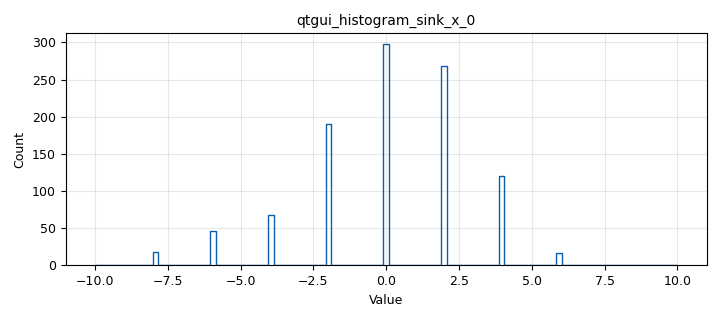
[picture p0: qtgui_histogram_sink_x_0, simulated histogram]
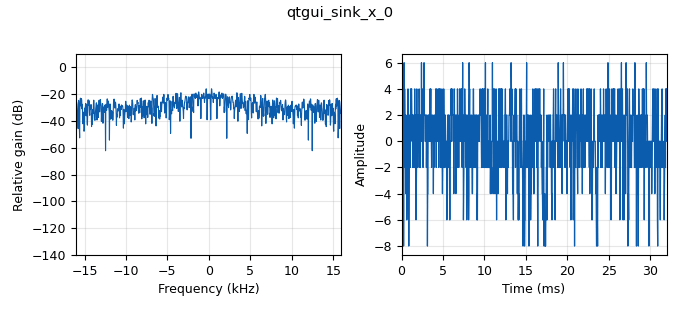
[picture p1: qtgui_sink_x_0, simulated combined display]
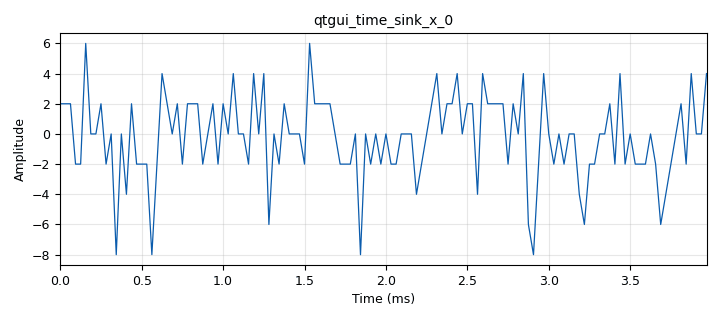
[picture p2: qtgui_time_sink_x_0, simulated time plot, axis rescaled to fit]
options:
  parameters:
    author: vivelpanel
    generate_options: qt_gui
    id: top_block
    output_language: python
    title: Not titled yet
  states: {}

blocks:
- name: samp_rate
  id: variable
  parameters:
    value: '32000'
  states: {}
- name: blocks_add_xx_0
  id: blocks_add_xx
  parameters:
    num_inputs: '8'
    type: float
  states: {}
- name: blocks_throttle_0
  id: blocks_throttle
  parameters:
    samples_per_second: samp_rate
    type: float
  states: {}
- name: digital_glfsr_source_x_0
  id: digital_glfsr_source_x
  parameters:
    degree: '32'
    mask: '0'
    repeat: 'True'
    seed: '1'
    type: float
  states: {}
- name: digital_glfsr_source_x_0_0
  id: digital_glfsr_source_x
  parameters:
    degree: '32'
    mask: '0'
    repeat: 'True'
    seed: '39'
    type: float
  states: {}
- name: digital_glfsr_source_x_0_1
  id: digital_glfsr_source_x
  parameters:
    degree: '32'
    mask: '0'
    repeat: 'True'
    seed: '11234098'
    type: float
  states: {}
- name: digital_glfsr_source_x_0_2
  id: digital_glfsr_source_x
  parameters:
    degree: '32'
    mask: '0'
    repeat: 'True'
    seed: '6'
    type: float
  states: {}
- name: digital_glfsr_source_x_0_3
  id: digital_glfsr_source_x
  parameters:
    degree: '32'
    mask: '0'
    repeat: 'True'
    seed: '5'
    type: float
  states: {}
- name: digital_glfsr_source_x_0_4
  id: digital_glfsr_source_x
  parameters:
    degree: '32'
    mask: '0'
    repeat: 'True'
    seed: '4'
    type: float
  states: {}
- name: digital_glfsr_source_x_0_5
  id: digital_glfsr_source_x
  parameters:
    degree: '32'
    mask: '0'
    repeat: 'True'
    seed: '2'
    type: float
  states: {}
- name: digital_glfsr_source_x_0_6
  id: digital_glfsr_source_x
  parameters:
    degree: '32'
    mask: '0'
    repeat: 'True'
    seed: '333333'
    type: float
  states: {}
- name: qtgui_histogram_sink_x_0
  id: qtgui_histogram_sink_x
  parameters:
    bins: '101'
    size: '1024'
    type: float
    xmax: '10'
    xmin: '-10'
  states: {}
- name: qtgui_sink_x_0
  id: qtgui_sink_x
  parameters:
    bw: samp_rate
    fc: '0'
    fftsize: '1024'
    type: float
  states: {}
- name: qtgui_time_sink_x_0
  id: qtgui_time_sink_x
  parameters:
    size: '128'
    srate: samp_rate
    type: float
  states: {}

connections:
- [blocks_add_xx_0, '0', blocks_throttle_0, '0']
- [blocks_throttle_0, '0', qtgui_histogram_sink_x_0, '0']
- [blocks_throttle_0, '0', qtgui_sink_x_0, '0']
- [blocks_throttle_0, '0', qtgui_time_sink_x_0, '0']
- [digital_glfsr_source_x_0, '0', blocks_add_xx_0, '0']
- [digital_glfsr_source_x_0_0, '0', blocks_add_xx_0, '7']
- [digital_glfsr_source_x_0_1, '0', blocks_add_xx_0, '6']
- [digital_glfsr_source_x_0_2, '0', blocks_add_xx_0, '5']
- [digital_glfsr_source_x_0_3, '0', blocks_add_xx_0, '4']
- [digital_glfsr_source_x_0_4, '0', blocks_add_xx_0, '3']
- [digital_glfsr_source_x_0_5, '0', blocks_add_xx_0, '1']
- [digital_glfsr_source_x_0_6, '0', blocks_add_xx_0, '2']

metadata:
  file_format: 1
